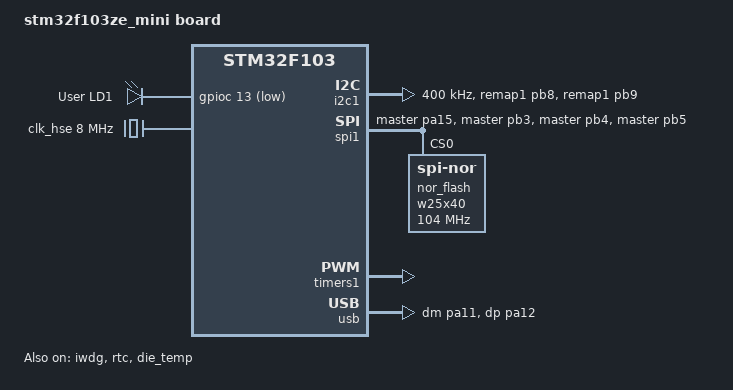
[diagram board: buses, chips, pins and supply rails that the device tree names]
/*
 * Copyright (c) 2024 FindlayFeng
 *
 * SPDX-License-Identifier: Apache-2.0
 */

/dts-v1/;
#include <st/f1/stm32f103Xe.dtsi>
#include <st/f1/stm32f103z(c-d-e)tx-pinctrl.dtsi>

/ {
	model = "stm32f103ze_mini board";
	compatible = "stm32f103";

	chosen {
		zephyr,console = &rtt0;
		zephyr,shell-uart = &rtt0;
		zephyr,sram = &sram0;
		zephyr,flash = &flash0;
		zephyr,code-partition = &slot0_partition;
	};

	leds {
		compatible = "gpio-leds";
		green_led_1: led_1 {
			gpios = <&gpioc 13 GPIO_ACTIVE_LOW>;
			label = "User LD1";
		};
	};

	aliases {
		led0 = &green_led_1;
		watchdog0 = &iwdg;
		die-temp0 = &die_temp;
	};

	rtt0: rtt_chan0 {
		compatible = "segger,rtt-uart";
		status = "okay";
	};

	rtt1: rtt_chan1 {
		compatible = "segger,rtt-uart";
		status = "okay";
	};
};

&clk_lsi {
	status = "okay";
};

&clk_hse {
	clock-frequency = <DT_FREQ_M(8)>;
	status = "okay";
};

&pll {
	mul = <9>;
	clocks = <&clk_hse>;
	status = "okay";
};

&rcc {
	clocks = <&pll>;
	clock-frequency = <DT_FREQ_M(72)>;
	ahb-prescaler = <1>;
	apb1-prescaler = <2>;
	apb2-prescaler = <1>;
	/* usbpre not set: USB clock = 72 / 1.5: 48MHz */
};

&pinctrl {
	swj-cfg = "jtag-disable";
};

&i2c1 {
	pinctrl-0 = <&i2c1_scl_remap1_pb8 &i2c1_sda_remap1_pb9>;
	pinctrl-names = "default";
	status = "okay";
	clock-frequency = <I2C_BITRATE_FAST>;
};

&spi1 {
	pinctrl-0 = <&spi1_nss_remap1_master_pa15 &spi1_sck_remap1_master_pb3
		     &spi1_miso_remap1_master_pb4 &spi1_mosi_remap1_master_pb5>;
	pinctrl-names = "default";
	status = "okay";

	nor_flash: w25x40@0 {
		compatible ="jedec,spi-nor";
		size = <DT_SIZE_K(512)>;
		reg = <0>;
		spi-max-frequency = <DT_FREQ_M(104)>;
		status = "okay";
		jedec-id = [ef 30 13];
	};
};

&iwdg {
	status = "okay";
};

&timers1 {
	st,prescaler = <10000>;
	status = "okay";

	pwm1: pwm {
		status = "okay";
		pinctrl-0 = <&tim1_ch1_pwm_out_pa8>;
		pinctrl-names = "default";
	};
};

zephyr_udc0: &usb {
	pinctrl-0 = <&usb_dm_pa11 &usb_dp_pa12>;
	pinctrl-names = "default";
	status = "okay";
};

&rtc {
	clocks = <&rcc STM32_CLOCK_BUS_APB1 0x10000000>,
		 <&rcc STM32_SRC_LSI RTC_SEL(2)>;
	status = "okay";
};

&die_temp {
	status = "okay";
};

&flash0 {

	partitions {
		compatible = "fixed-partitions";
		#address-cells = <1>;
		#size-cells = <1>;

		boot_partition: partition@0 {
			label = "mcuboot";
			reg = <0x00000000 0x0000C000>;
		};
		slot0_partition: partition@c000 {
			label = "image-0";
			reg = <0x0000C000 0x00036000>;
		};
		slot1_partition: partition@42000 {
			label = "image-1";
			reg = <0x00042000 0x00036000>;
		};

		/*
		 * The flash starting at 0x000f8000 and ending at
		 * 0x000fffff is reserved for use by the application.
		 */

		/*
		 * Storage partition will be used by FCB/LittleFS/NVS
		 * if enabled.
		 */
		storage_partition: partition@78000 {
			label = "storage";
			reg = <0x00078000 0x00008000>;
		};
	};
};
